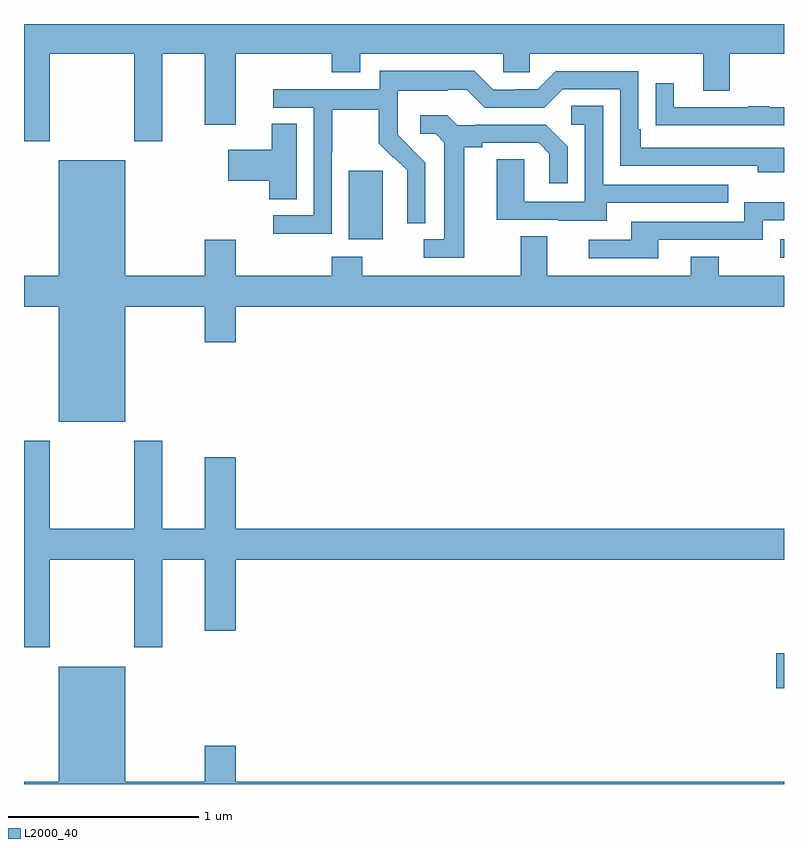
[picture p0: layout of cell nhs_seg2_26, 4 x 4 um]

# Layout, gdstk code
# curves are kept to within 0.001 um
import gdstk
lib = gdstk.Library(unit=1e-6, precision=1e-09)
def R(c, l, rs):  # rectangles x0, y0, x1, y1
    for r in rs: c.add(gdstk.rectangle(r[:2], r[2:], *l))
def P(c, l, *ps):  # polygons
    for p in ps: c.add(gdstk.Polygon(p, *l))
L2000_40 = (2000, 40)

nhs_seg2_26 = lib.new_cell('nhs_seg2_26')
R(nhs_seg2_26, L2000_40, [(114.96,636.305,115,636.488), (114.981,638.571,115,638.667), (112.709,638.666,112.888,639.027)])
P(nhs_seg2_26, L2000_40, [(111.135,639.644),(111.58,639.644),(111.58,639.183),(111.727,639.183),(111.727,639.644),(111.95,639.644),(111.95,639.27),(112.114,639.27),(112.114,639.644),(112.619,639.644),(112.619,639.545),(112.771,639.545),(112.771,639.644),(113.523,639.644),(113.523,639.546),(113.661,639.546),(113.661,639.644),(114.575,639.644),(114.575,639.45),(114.715,639.45),(114.715,639.644),(115,639.644),(115,639.8),(111,639.8),(111,639.183),(111.135,639.183)],
  [(112.62,639.124),(112.623,639.124),(112.623,639.348),(112.867,639.348),(112.867,639.173),(112.944,639.096),(112.947,639.099),(113.018,639.029),(113.018,638.906),(113.016,638.906),(113.016,638.752),(113.112,638.752),(113.112,639.07),(112.966,639.218),(112.966,639.315),(112.968,639.315),(112.968,639.449),(113.231,639.449),(113.231,639.453),(113.331,639.453),(113.424,639.36),(113.739,639.36),(113.835,639.456),(114.138,639.456),(114.138,639.054),(114.863,639.054),(114.863,639.02),(115,639.02),(115,639.15),(114.247,639.15),(114.247,639.247),(114.234,639.247),(114.234,639.552),(113.799,639.552),(113.703,639.456),(113.585,639.456),(113.585,639.453),(113.469,639.453),(113.369,639.553),(112.872,639.553),(112.872,639.456),(112.311,639.456),(112.311,639.36),(112.524,639.36),(112.524,638.793),(112.311,638.793),(112.311,638.695),(112.62,638.695)],
  [(115,639.363),(114.923,639.363),(114.923,639.368),(114.811,639.368),(114.811,639.363),(114.421,639.363),(114.421,639.487),(114.325,639.487),(114.325,639.268),(114.427,639.268),(114.427,639.267),(115,639.267)],
  [(114.067,638.859),(114.707,638.859),(114.707,638.955),(114.048,638.955),(114.048,639.371),(113.88,639.371),(113.88,639.27),(113.952,639.27),(113.952,638.865),(113.634,638.865),(113.634,639.089),(113.489,639.089),(113.489,638.769),(113.813,638.769),(113.813,638.765),(114.067,638.765)],
  [(113.317,639.152),(113.413,639.152),(113.413,639.174),(113.708,639.174),(113.765,639.117),(113.765,638.961),(113.862,638.961),(113.862,639.154),(113.746,639.27),(113.374,639.27),(113.374,639.267),(113.28,639.267),(113.228,639.319),(113.085,639.319),(113.085,639.222),(113.166,639.222),(113.213,639.175),(113.213,638.667),(113.103,638.667),(113.103,638.571),(113.317,638.571)],
  [(112.435,639.275),(112.304,639.275),(112.304,639.139),(112.074,639.139),(112.074,638.974),(112.292,638.974),(112.292,638.878),(112.435,638.878)],
  [(111.532,638.312),(111.95,638.312),(111.95,638.124),(112.114,638.124),(112.114,638.312),(115,638.312),(115,638.476),(114.657,638.476),(114.657,638.575),(114.509,638.575),(114.509,638.476),(113.755,638.476),(113.755,638.684),(113.615,638.684),(113.615,638.476),(112.779,638.476),(112.779,638.575),(112.619,638.575),(112.619,638.476),(112.114,638.476),(112.114,638.665),(111.95,638.665),(111.95,638.476),(111.532,638.476),(111.532,639.082),(111.182,639.082),(111.182,638.476),(111,638.476),(111,638.312),(111.182,638.312),(111.182,637.706),(111.532,637.706)],
  [(114.337,638.664),(114.888,638.664),(114.888,638.766),(115,638.766),(115,638.863),(114.792,638.863),(114.792,638.76),(114.197,638.76),(114.197,638.664),(113.973,638.664),(113.973,638.568),(114.337,638.568)],
  [(111.135,636.98),(111.58,636.98),(111.58,636.519),(111.727,636.519),(111.727,636.98),(111.95,636.98),(111.95,636.606),(112.114,636.606),(112.114,636.98),(115,636.98),(115,637.144),(112.114,637.144),(112.114,637.519),(111.95,637.519),(111.95,637.144),(111.727,637.144),(111.727,637.606),(111.58,637.606),(111.58,637.144),(111.135,637.144),(111.135,637.606),(111,637.606),(111,636.519),(111.135,636.519)],
  [(115,635.812),(112.114,635.812),(112.114,636.001),(111.95,636.001),(111.95,635.812),(111.532,635.812),(111.532,636.418),(111.182,636.418),(111.182,635.812),(111,635.812),(111,635.8),(115,635.8)])

lib.write_gds('nhs_seg2_26.gds')
